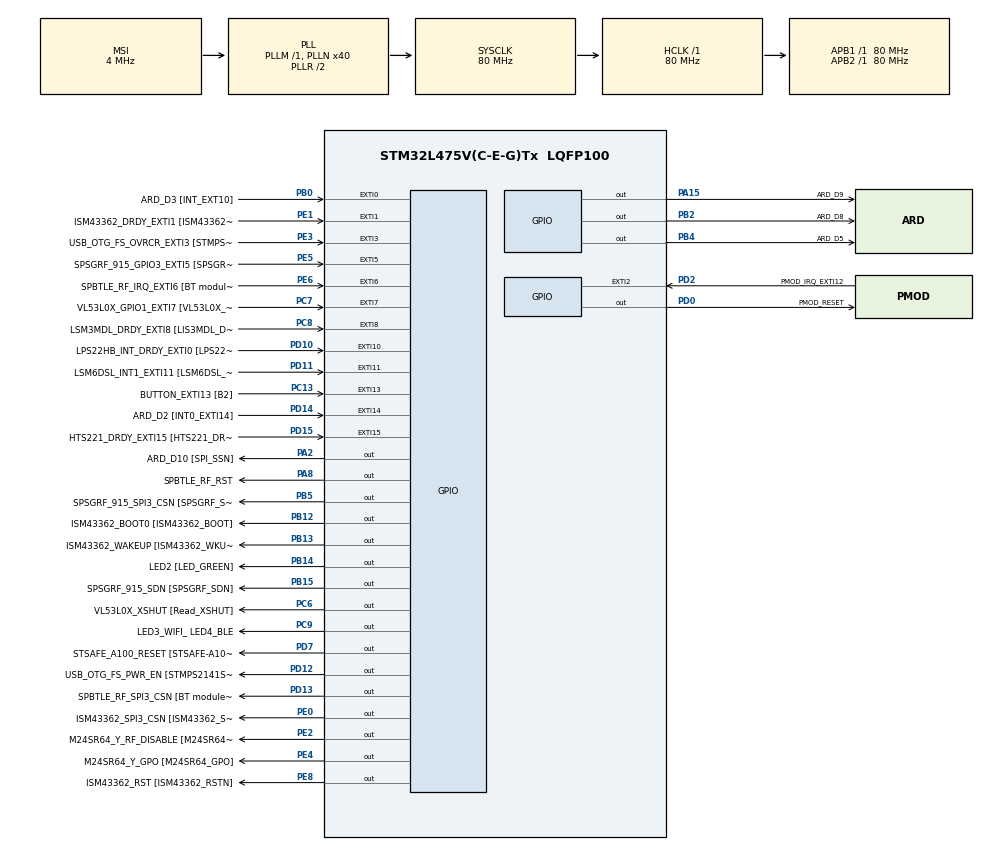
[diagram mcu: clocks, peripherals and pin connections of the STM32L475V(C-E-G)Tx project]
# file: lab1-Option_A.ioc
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FREERTOS.BinarySemaphores01=Semaphore_Timer,Dynamic,NULL,Available
FREERTOS.Mutexes01=Mutex_LED,Dynamic,NULL,Available
FREERTOS.Queues01=Queue_Button,5,uint8_t,0,Dynamic,NULL,NULL
FREERTOS.Tasks01=defaultTask,24,128,StartDefaultTask,Default,NULL,Dynamic,NULL,NULL;Task_1,24,128,StartTask_1,Default,NULL,Dynamic,NULL,NULL;Task_2,24,128,StartTask_2,Default,NULL,Dynamic,NULL,NULL
Mcu.Family=STM32L4
Mcu.Name=STM32L475V(C-E-G)Tx
Mcu.Package=LQFP100
NVIC.EXTI15_10_IRQn=true\:5\:0\:false\:false\:true\:true\:true\:true\:true
NVIC.EXTI9_5_IRQn=true\:5\:0\:false\:false\:true\:true\:true\:true\:true
NVIC.PriorityGroup=NVIC_PRIORITYGROUP_4
NVIC.TIM6_DAC_IRQn=true\:5\:0\:false\:false\:true\:true\:true\:true\:true
PA0.GPIO_Label=ARD_D1 [UART4_TX]
PA0.Signal=UART4_TX
PA1.GPIO_Label=ARD_D0 [UART4_RX]
PA1.Signal=UART4_RX
PA10.GPIO_Label=USB_OTG_FS_ID
PA10.Signal=USB_OTG_FS_ID
PA11.GPIO_Label=USB_OTG_FS_DM
PA11.Signal=USB_OTG_FS_DM
PA12.GPIO_Label=USB_OTG_FS_DP
PA12.Signal=USB_OTG_FS_DP
PA13\ (JTMS-SWDIO).GPIO_Label=SYS_JTMS_SWDIO
PA13\ (JTMS-SWDIO).Signal=SYS_JTMS-SWDIO
PA14\ (JTCK-SWCLK).GPIO_Label=SYS_JTCK_SWCLK
PA14\ (JTCK-SWCLK).Signal=SYS_JTCK-SWCLK
PA15\ (JTDI).GPIO_Label=ARD_D9
PA15\ (JTDI).Signal=GPIO_Output
PA2.GPIO_Label=ARD_D10 [SPI_SSN]
PA2.Signal=GPIO_Output
PA3.GPIO_Label=ARD_D4
PA3.Signal=S_TIM2_CH4
PA4.GPIO_Label=ARD_D7
PA4.Signal=ADCx_IN9
PA5.GPIO_Label=ARD_D13 [SPI1_SCK]
PA5.Signal=SPI1_SCK
PA6.GPIO_Label=ARD_D12 [SPI1_MISO]
PA6.Signal=SPI1_MISO
PA7.GPIO_Label=ARD_D11 [SPI1_MOSI]
PA7.Signal=SPI1_MOSI
PA8.GPIO_Label=SPBTLE_RF_RST
PA8.Signal=GPIO_Output
PA9.GPIO_Label=USB_OTG_FS_VBUS [STMPS2141STR_OUT]
PA9.Signal=USB_OTG_FS_VBUS
PB0.GPIO_Label=ARD_D3 [INT_EXT10]
PB0.Signal=GPXTI0
PB1.GPIO_Label=ARD_D6 [ADC1_IN6]
PB1.Signal=ADCx_IN16
PB10.GPIO_Label=INTERNAL_I2C2_SCL [VL53L0X_SCL]
PB10.Signal=I2C2_SCL
PB11.GPIO_Label=INTERNAL_I2C2_SDA [VL53L0X_SDA]
PB11.Signal=I2C2_SDA
PB12.GPIO_Label=ISM43362_BOOT0 [ISM43362_BOOT]
PB12.Signal=GPIO_Output
PB13.GPIO_Label=ISM43362_WAKEUP [ISM43362_WKUP]
PB13.Signal=GPIO_Output
PB14.GPIO_Label=LED2 [LED_GREEN]
PB14.Signal=GPIO_Output
PB15.GPIO_Label=SPSGRF_915_SDN [SPSGRF_SDN]
PB15.Signal=GPIO_Output
PB2.GPIO_Label=ARD_D8
PB2.Signal=GPIO_Output
PB3\ (JTDO-TRACESWO).GPIO_Label=SYS_JTD0_SWO
PB3\ (JTDO-TRACESWO).Signal=SYS_JTDO-SWO
PB4\ (NJTRST).GPIO_Label=ARD_D5
PB4\ (NJTRST).Signal=GPIO_Output
PB5.GPIO_Label=SPSGRF_915_SPI3_CSN [SPSGRF_SPI_CS]
PB5.PinState=GPIO_PIN_SET
PB5.Signal=GPIO_Output
PB6.GPIO_Label=ST_LINK_UART1_TX
PB6.Signal=USART1_TX
PB7.GPIO_Label=ST_LINK_UART1_RX
PB7.Signal=USART1_RX
PB8.GPIO_Label=ARD_D15 [I2C1_SCL]
PB8.Signal=I2C1_SCL
PB9.GPIO_Label=ARD_D14 [I2C1_SDA]
PB9.Signal=I2C1_SDA
PC0.GPIO_Label=ARD_A5 [ADC]
PC0.Signal=ADCx_IN1
PC1.GPIO_Label=ARD_A4 [ADC]
PC1.Signal=ADCx_IN2
PC10.GPIO_Label=INTERNAL_SPI3_SCK [BT module_SPI_SCLK] [ISM43362_SCK]
PC10.Signal=SPI3_SCK
PC11.GPIO_Label=INTERNAL_SPI3_MISO [BT module_SPI_MISO] [ISM43362_MISO]
PC11.Signal=SPI3_MISO
PC12.GPIO_Label=INTERNAL_SPI3_MOSI [BT module_SPI_MOSI] [ISM43362_MOSI]
PC12.Signal=SPI3_MOSI
PC13.GPIO_Label=BUTTON_EXTI13 [B2]
PC13.GPIO_ModeDefaultEXTI=GPIO_MODE_IT_RISING_FALLING
PC13.Signal=GPXTI13
PC14-OSC32_IN\ (PC14).Signal=RCC_OSC32_IN
PC15-OSC32_OUT\ (PC15).Signal=RCC_OSC32_OUT
PC2.GPIO_Label=ARD_A3 [ADC]
PC2.Signal=ADCx_IN3
PC3.GPIO_Label=ARD_A2 [ADC]
PC3.Signal=ADCx_IN4
PC4.GPIO_Label=ARD_A1 [ADC]
PC4.Signal=ADCx_IN13
PC5.GPIO_Label=ARD_A0 [ADC]
PC5.Signal=ADCx_IN14
PC6.GPIO_Label=VL53L0X_XSHUT [Read_XSHUT]
PC6.Signal=GPIO_Output
PC7.GPIO_Label=VL53L0X_GPIO1_EXTI7 [VL53L0X_GPIO1]
PC7.Signal=GPXTI7
PC8.GPIO_Label=LSM3MDL_DRDY_EXTI8 [LIS3MDL_DRDY]
PC8.Signal=GPXTI8
PC9.GPIO_Label=LED3_WIFI_ LED4_BLE
PC9.Signal=GPIO_Output
PD0.GPIO_Label=PMOD_RESET
PD0.Signal=GPIO_Output
PD1.GPIO_Label=PMOD_SPI2_SCK
PD1.Signal=SPI2_SCK
PD10.GPIO_Label=LPS22HB_INT_DRDY_EXTI0 [LPS22HB_INT_DRDY] 
PD10.Signal=GPXTI10
PD11.GPIO_Label=LSM6DSL_INT1_EXTI11 [LSM6DSL_INT1]
PD11.Signal=GPXTI11
PD12.GPIO_Label=USB_OTG_FS_PWR_EN [STMPS2141STR_EN]
PD12.Signal=GPIO_Output
PD13.GPIO_Label=SPBTLE_RF_SPI3_CSN [BT module_SPI_CS]
PD13.PinState=GPIO_PIN_SET
PD13.Signal=GPIO_Output
PD14.GPIO_Label=ARD_D2 [INT0_EXTI14]
PD14.Signal=GPXTI14
PD15.GPIO_Label=HTS221_DRDY_EXTI15 [HTS221_DRDY]
PD15.Signal=GPXTI15
PD2.GPIO_Label=PMOD_IRQ_EXTI12
PD2.Signal=GPXTI2
PD3.GPIO_Label=PMOD_UART2_CTS
PD3.Signal=USART2_CTS
PD4.GPIO_Label=PMOD_UART2_RTS
PD4.Signal=USART2_RTS
PD5.GPIO_Label=PMOD_UART2_TX
PD5.Signal=USART2_TX
PD6.GPIO_Label=PMOD_UART2_RX
PD6.Signal=USART2_RX
PD7.GPIO_Label=STSAFE_A100_RESET [STSAFE-A100_RESET]
PD7.Signal=GPIO_Output
PD8.GPIO_Label=INTERNAL_UART3_TX [ISM43362_RX]
PD8.Signal=USART3_TX
PD9.GPIO_Label=INTERNAL_UART3_RX [ISM43362_TX]
PD9.Signal=USART3_RX
PE0.GPIO_Label=ISM43362_SPI3_CSN [ISM43362_SSN]
PE0.PinState=GPIO_PIN_SET
PE0.Signal=GPIO_Output
PE1.GPIO_Label=ISM43362_DRDY_EXTI1 [ISM43362_DATARDY]
PE1.Signal=GPXTI1
PE10.GPIO_Label=QUADSPI_CLK [MX25R6435F_SCLK]
PE10.Signal=QUADSPI_CLK
PE11.GPIO_Label=QUADSPI_NCS [MX25R6435F_SCLK]
PE11.Signal=QUADSPI_NCS
PE12.GPIO_Label=OQUADSPI_BK1_IO0 [MX25R6435F_IO0]
PE12.Signal=QUADSPI_BK1_IO0
PE13.GPIO_Label=QUADSPI_BK1_IO1 [MX25R6435F_IO1]
PE13.Signal=QUADSPI_BK1_IO1
PE14.GPIO_Label=QUAD_SPI_BK1_IO2 [MX25R6435F_IO2]
PE14.Signal=QUADSPI_BK1_IO2
PE15.GPIO_Label=QUAD_SPI_BK1_IO3 [MX25R6435F_IO3]
PE15.Signal=QUADSPI_BK1_IO3
PE2.GPIO_Label=M24SR64_Y_RF_DISABLE [M24SR64_RFDIS]
PE2.Signal=GPIO_Output
PE3.GPIO_Label=USB_OTG_FS_OVRCR_EXTI3 [STMPS2141STR_FAULT]
PE3.Signal=GPXTI3
PE4.GPIO_Label=M24SR64_Y_GPO [M24SR64_GPO]
PE4.Signal=GPIO_Output
PE5.GPIO_Label=SPSGRF_915_GPIO3_EXTI5 [SPSGRF_GPIO_3]
PE5.Signal=GPXTI5
PE6.GPIO_Label=SPBTLE_RF_IRQ_EXTI6 [BT module_SPI_IRQ]
PE6.Signal=GPXTI6
PE7.GPIO_Label=DFSDM1_DATIN2 [MP34DT01_DOUT]
PE7.Signal=S_DATAIN2DFSDM1
PE8.GPIO_Label=ISM43362_RST [ISM43362_RSTN]
PE8.Signal=GPIO_Output
PE9.GPIO_Label=DFSDM1_CKOUT [MP34DT01_CLK]
PE9.Signal=S_CKOUTDFSDM1
ProjectManager.HeapSize=0x200
ProjectManager.StackSize=0x400
ProjectManager.TargetToolchain=STM32CubeIDE
RCC.ADCFreq_Value=48000000
RCC.AHBFreq_Value=80000000
RCC.APB1Freq_Value=80000000
RCC.APB1TimFreq_Value=80000000
RCC.APB2Freq_Value=80000000
RCC.APB2TimFreq_Value=80000000
RCC.CortexFreq_Value=80000000
RCC.HCLKFreq_Value=80000000
RCC.HSE_VALUE=8000000
RCC.HSI_VALUE=16000000
RCC.LSE_VALUE=32768
RCC.MSI_VALUE=4000000
RCC.PLLN=40
RCC.PLLSAI1N=24
RCC.SYSCLKFreq_VALUE=80000000
RCC.SYSCLKSource=RCC_SYSCLKSOURCE_PLLCLK
RCC.USBFreq_Value=48000000
RCC.VCOOutputFreq_Value=160000000
SH.ADCx_IN1.0=ADC1_IN1
SH.ADCx_IN13.0=ADC1_IN13
SH.ADCx_IN14.0=ADC1_IN14
SH.ADCx_IN16.0=ADC1_IN16
SH.ADCx_IN2.0=ADC1_IN2
SH.ADCx_IN3.0=ADC1_IN3
SH.ADCx_IN4.0=ADC1_IN4
SH.ADCx_IN9.0=ADC1_IN9
SH.S_CKOUTDFSDM1.0=DFSDM1_CKOUT
SH.S_DATAIN2DFSDM1.0=DFSDM1_DATIN2
SH.S_TIM2_CH4.0=TIM2_CH4
TIM6.Period=20000-1
TIM6.Prescaler=40000-1
VP_FREERTOS_VS_CMSIS_V2.Mode=CMSIS_V2
VP_TIM6_VS_ClockSourceINT.Mode=Enable_Timer
board=B-L475E-IOT01A1

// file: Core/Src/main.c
/* USER CODE BEGIN Header */
/**
  ******************************************************************************
  * @file           : main.c
  * @brief          : Main program body
  ******************************************************************************
  * @attention
  *
  * Copyright (c) 2026 STMicroelectronics.
  * All rights reserved.
  *
  * This software is licensed under terms that can be found in the LICENSE file
  * in the root directory of this software component.
  * If no LICENSE file comes with this software, it is provided AS-IS.
  *
  ******************************************************************************
  */
/* USER CODE END Header */
#include "main.h"
#include "cmsis_os.h"

TIM_HandleTypeDef htim6;

/* Definitions for defaultTask */
osThreadId_t defaultTaskHandle;
const osThreadAttr_t defaultTask_attributes = {
  .name = "defaultTask",
  .stack_size = 128 * 4,
  .priority = (osPriority_t) osPriorityNormal,
};
/* Definitions for Task_1 */
osThreadId_t Task_1Handle;
const osThreadAttr_t Task_1_attributes = {
  .name = "Task_1",
  .stack_size = 128 * 4,
  .priority = (osPriority_t) osPriorityNormal,
};
/* Definitions for Task_2 */
osThreadId_t Task_2Handle;
const osThreadAttr_t Task_2_attributes = {
  .name = "Task_2",
  .stack_size = 128 * 4,
  .priority = (osPriority_t) osPriorityNormal,
};
/* Definitions for Queue_Button */
osMessageQueueId_t Queue_ButtonHandle;
const osMessageQueueAttr_t Queue_Button_attributes = {
  .name = "Queue_Button"
};
/* Definitions for Mutex_LED */
osMutexId_t Mutex_LEDHandle;
const osMutexAttr_t Mutex_LED_attributes = {
  .name = "Mutex_LED"
};
/* Definitions for Semaphore_Timer */
osSemaphoreId_t Semaphore_TimerHandle;
const osSemaphoreAttr_t Semaphore_Timer_attributes = {
  .name = "Semaphore_Timer"
};

void SystemClock_Config(void);
static void MX_GPIO_Init(void);
static void MX_TIM6_Init(void);
void StartDefaultTask(void *argument);
void StartTask_1(void *argument);
void StartTask_2(void *argument);

int main(void)
{

  /* MCU Configuration--------------------------------------------------------*/

  /* Reset of all peripherals, Initializes the Flash interface and the Systick. */
  HAL_Init();

  /* Configure the system clock */
  SystemClock_Config();

  /* Initialize all configured peripherals */
  MX_GPIO_Init();
  MX_TIM6_Init();
  /* USER CODE BEGIN 2 */
  HAL_TIM_Base_Start_IT(&htim6);
  /* USER CODE END 2 */

  /* Init scheduler */
  osKernelInitialize();
  /* Create the mutex(es) */
  /* creation of Mutex_LED */
  Mutex_LEDHandle = osMutexNew(&Mutex_LED_attributes);

  /* Create the semaphores(s) */
  /* creation of Semaphore_Timer */
  Semaphore_TimerHandle = osSemaphoreNew(1, 1, &Semaphore_Timer_attributes);

  /* Create the queue(s) */
  /* creation of Queue_Button */
  Queue_ButtonHandle = osMessageQueueNew (5, sizeof(uint8_t), &Queue_Button_attributes);

  /* Create the thread(s) */
  /* creation of defaultTask */
  defaultTaskHandle = osThreadNew(StartDefaultTask, NULL, &defaultTask_attributes);

  /* creation of Task_1 */
  Task_1Handle = osThreadNew(StartTask_1, NULL, &Task_1_attributes);

  /* creation of Task_2 */
  Task_2Handle = osThreadNew(StartTask_2, NULL, &Task_2_attributes);

  /* Start scheduler */
  osKernelStart();

  /* We should never get here as control is now taken by the scheduler */

  /* Infinite loop */
  while (1)
  {

  }
}

void SystemClock_Config(void)
{
  RCC_OscInitTypeDef RCC_OscInitStruct = {0};
  RCC_ClkInitTypeDef RCC_ClkInitStruct = {0};

  /** Configure the main internal regulator output voltage
  */
  if (HAL_PWREx_ControlVoltageScaling(PWR_REGULATOR_VOLTAGE_SCALE1) != HAL_OK)
  {
    Error_Handler();
  }

  /** Initializes the RCC Oscillators according to the specified parameters
  * in the RCC_OscInitTypeDef structure.
  */
  RCC_OscInitStruct.OscillatorType = RCC_OSCILLATORTYPE_MSI;
  RCC_OscInitStruct.MSIState = RCC_MSI_ON;
  RCC_OscInitStruct.MSICalibrationValue = 0;
  RCC_OscInitStruct.MSIClockRange = RCC_MSIRANGE_6;
  RCC_OscInitStruct.PLL.PLLState = RCC_PLL_ON;
  RCC_OscInitStruct.PLL.PLLSource = RCC_PLLSOURCE_MSI;
  RCC_OscInitStruct.PLL.PLLM = 1;
  RCC_OscInitStruct.PLL.PLLN = 40;
  RCC_OscInitStruct.PLL.PLLP = RCC_PLLP_DIV7;
  RCC_OscInitStruct.PLL.PLLQ = RCC_PLLQ_DIV2;
  RCC_OscInitStruct.PLL.PLLR = RCC_PLLR_DIV2;
  if (HAL_RCC_OscConfig(&RCC_OscInitStruct) != HAL_OK)
  {
    Error_Handler();
  }

  /** Initializes the CPU, AHB and APB buses clocks
  */
  RCC_ClkInitStruct.ClockType = RCC_CLOCKTYPE_HCLK|RCC_CLOCKTYPE_SYSCLK
                              |RCC_CLOCKTYPE_PCLK1|RCC_CLOCKTYPE_PCLK2;
  RCC_ClkInitStruct.SYSCLKSource = RCC_SYSCLKSOURCE_PLLCLK;
  RCC_ClkInitStruct.AHBCLKDivider = RCC_SYSCLK_DIV1;
  RCC_ClkInitStruct.APB1CLKDivider = RCC_HCLK_DIV1;
  RCC_ClkInitStruct.APB2CLKDivider = RCC_HCLK_DIV1;

  if (HAL_RCC_ClockConfig(&RCC_ClkInitStruct, FLASH_LATENCY_4) != HAL_OK)
  {
    Error_Handler();
  }
}

static void MX_TIM6_Init(void)
{

  TIM_MasterConfigTypeDef sMasterConfig = {0};

  htim6.Instance = TIM6;
  htim6.Init.Prescaler = 40000-1;
  htim6.Init.CounterMode = TIM_COUNTERMODE_UP;
  htim6.Init.Period = 20000-1;
  htim6.Init.AutoReloadPreload = TIM_AUTORELOAD_PRELOAD_DISABLE;
  if (HAL_TIM_Base_Init(&htim6) != HAL_OK)
  {
    Error_Handler();
  }
  sMasterConfig.MasterOutputTrigger = TIM_TRGO_RESET;
  sMasterConfig.MasterSlaveMode = TIM_MASTERSLAVEMODE_DISABLE;
  if (HAL_TIMEx_MasterConfigSynchronization(&htim6, &sMasterConfig) != HAL_OK)
  {
    Error_Handler();
  }

}

static void MX_GPIO_Init(void)
{
  GPIO_InitTypeDef GPIO_InitStruct = {0};

  /* GPIO Ports Clock Enable */
  __HAL_RCC_GPIOE_CLK_ENABLE();
  __HAL_RCC_GPIOC_CLK_ENABLE();
  __HAL_RCC_GPIOA_CLK_ENABLE();
  __HAL_RCC_GPIOB_CLK_ENABLE();
  __HAL_RCC_GPIOD_CLK_ENABLE();

  /*Configure GPIO pin Output Level */
  HAL_GPIO_WritePin(GPIOE, M24SR64_Y_RF_DISABLE_Pin|M24SR64_Y_GPO_Pin|ISM43362_RST_Pin, GPIO_PIN_RESET);

  /*Configure GPIO pin Output Level */
  HAL_GPIO_WritePin(GPIOA, ARD_D10_Pin|SPBTLE_RF_RST_Pin|ARD_D9_Pin, GPIO_PIN_RESET);

  /*Configure GPIO pin Output Level */
  HAL_GPIO_WritePin(GPIOB, ARD_D8_Pin|ISM43362_BOOT0_Pin|ISM43362_WAKEUP_Pin|LED2_Pin
                          |SPSGRF_915_SDN_Pin|ARD_D5_Pin, GPIO_PIN_RESET);

  /*Configure GPIO pin Output Level */
  HAL_GPIO_WritePin(GPIOD, USB_OTG_FS_PWR_EN_Pin|PMOD_RESET_Pin|STSAFE_A100_RESET_Pin, GPIO_PIN_RESET);

  /*Configure GPIO pin Output Level */
  HAL_GPIO_WritePin(SPBTLE_RF_SPI3_CSN_GPIO_Port, SPBTLE_RF_SPI3_CSN_Pin, GPIO_PIN_SET);

  /*Configure GPIO pin Output Level */
  HAL_GPIO_WritePin(GPIOC, VL53L0X_XSHUT_Pin|LED3_WIFI__LED4_BLE_Pin, GPIO_PIN_RESET);

  /*Configure GPIO pin Output Level */
  HAL_GPIO_WritePin(SPSGRF_915_SPI3_CSN_GPIO_Port, SPSGRF_915_SPI3_CSN_Pin, GPIO_PIN_SET);

  /*Configure GPIO pin Output Level */
  HAL_GPIO_WritePin(ISM43362_SPI3_CSN_GPIO_Port, ISM43362_SPI3_CSN_Pin, GPIO_PIN_SET);

  /*Configure GPIO pins : M24SR64_Y_RF_DISABLE_Pin M24SR64_Y_GPO_Pin ISM43362_RST_Pin ISM43362_SPI3_CSN_Pin */
  GPIO_InitStruct.Pin = M24SR64_Y_RF_DISABLE_Pin|M24SR64_Y_GPO_Pin|ISM43362_RST_Pin|ISM43362_SPI3_CSN_Pin;
  GPIO_InitStruct.Mode = GPIO_MODE_OUTPUT_PP;
  GPIO_InitStruct.Pull = GPIO_NOPULL;
  GPIO_InitStruct.Speed = GPIO_SPEED_FREQ_LOW;
  HAL_GPIO_Init(GPIOE, &GPIO_InitStruct);

  /*Configure GPIO pins : USB_OTG_FS_OVRCR_EXTI3_Pin SPSGRF_915_GPIO3_EXTI5_Pin SPBTLE_RF_IRQ_EXTI6_Pin ISM43362_DRDY_EXTI1_Pin */
  GPIO_InitStruct.Pin = USB_OTG_FS_OVRCR_EXTI3_Pin|SPSGRF_915_GPIO3_EXTI5_Pin|SPBTLE_RF_IRQ_EXTI6_Pin|ISM43362_DRDY_EXTI1_Pin;
  GPIO_InitStruct.Mode = GPIO_MODE_IT_RISING;
  GPIO_InitStruct.Pull = GPIO_NOPULL;
  HAL_GPIO_Init(GPIOE, &GPIO_InitStruct);

  /*Configure GPIO pin : BUTTON_EXTI13_Pin */
  GPIO_InitStruct.Pin = BUTTON_EXTI13_Pin;
  GPIO_InitStruct.Mode = GPIO_MODE_IT_RISING_FALLING;
  GPIO_InitStruct.Pull = GPIO_NOPULL;
  HAL_GPIO_Init(BUTTON_EXTI13_GPIO_Port, &GPIO_InitStruct);

  /*Configure GPIO pins : ARD_A5_Pin ARD_A4_Pin ARD_A3_Pin ARD_A2_Pin
                           ARD_A1_Pin ARD_A0_Pin */
  GPIO_InitStruct.Pin = ARD_A5_Pin|ARD_A4_Pin|ARD_A3_Pin|ARD_A2_Pin
                          |ARD_A1_Pin|ARD_A0_Pin;
  GPIO_InitStruct.Mode = GPIO_MODE_ANALOG_ADC_CONTROL;
  GPIO_InitStruct.Pull = GPIO_NOPULL;
  HAL_GPIO_Init(GPIOC, &GPIO_InitStruct);

  /*Configure GPIO pins : ARD_D1_Pin ARD_D0_Pin */
  GPIO_InitStruct.Pin = ARD_D1_Pin|ARD_D0_Pin;
  GPIO_InitStruct.Mode = GPIO_MODE_AF_PP;
  GPIO_InitStruct.Pull = GPIO_NOPULL;
  GPIO_InitStruct.Speed = GPIO_SPEED_FREQ_VERY_HIGH;
  GPIO_InitStruct.Alternate = GPIO_AF8_UART4;
  HAL_GPIO_Init(GPIOA, &GPIO_InitStruct);

  /*Configure GPIO pins : ARD_D10_Pin SPBTLE_RF_RST_Pin ARD_D9_Pin */
  GPIO_InitStruct.Pin = ARD_D10_Pin|SPBTLE_RF_RST_Pin|ARD_D9_Pin;
  GPIO_InitStruct.Mode = GPIO_MODE_OUTPUT_PP;
  GPIO_InitStruct.Pull = GPIO_NOPULL;
  GPIO_InitStruct.Speed = GPIO_SPEED_FREQ_LOW;
  HAL_GPIO_Init(GPIOA, &GPIO_InitStruct);

  /*Configure GPIO pin : ARD_D4_Pin */
  GPIO_InitStruct.Pin = ARD_D4_Pin;
  GPIO_InitStruct.Mode = GPIO_MODE_AF_PP;
  GPIO_InitStruct.Pull = GPIO_NOPULL;
  GPIO_InitStruct.Speed = GPIO_SPEED_FREQ_LOW;
  GPIO_InitStruct.Alternate = GPIO_AF1_TIM2;
  HAL_GPIO_Init(ARD_D4_GPIO_Port, &GPIO_InitStruct);

  /*Configure GPIO pin : ARD_D7_Pin */
  GPIO_InitStruct.Pin = ARD_D7_Pin;
  GPIO_InitStruct.Mode = GPIO_MODE_ANALOG_ADC_CONTROL;
  GPIO_InitStruct.Pull = GPIO_NOPULL;
  HAL_GPIO_Init(ARD_D7_GPIO_Port, &GPIO_InitStruct);

  /*Configure GPIO pins : ARD_D13_Pin ARD_D12_Pin ARD_D11_Pin */
  GPIO_InitStruct.Pin = ARD_D13_Pin|ARD_D12_Pin|ARD_D11_Pin;
  GPIO_InitStruct.Mode = GPIO_MODE_AF_PP;
  GPIO_InitStruct.Pull = GPIO_NOPULL;
  GPIO_InitStruct.Speed = GPIO_SPEED_FREQ_VERY_HIGH;
  GPIO_InitStruct.Alternate = GPIO_AF5_SPI1;
  HAL_GPIO_Init(GPIOA, &GPIO_InitStruct);

  /*Configure GPIO pin : ARD_D3_Pin */
  GPIO_InitStruct.Pin = ARD_D3_Pin;
  GPIO_InitStruct.Mode = GPIO_MODE_IT_RISING;
  GPIO_InitStruct.Pull = GPIO_NOPULL;
  HAL_GPIO_Init(ARD_D3_GPIO_Port, &GPIO_InitStruct);

  /*Configure GPIO pin : ARD_D6_Pin */
  GPIO_InitStruct.Pin = ARD_D6_Pin;
  GPIO_InitStruct.Mode = GPIO_MODE_ANALOG_ADC_CONTROL;
  GPIO_InitStruct.Pull = GPIO_NOPULL;
  HAL_GPIO_Init(ARD_D6_GPIO_Port, &GPIO_InitStruct);

  /*Configure GPIO pins : ARD_D8_Pin ISM43362_BOOT0_Pin ISM43362_WAKEUP_Pin LED2_Pin
                           SPSGRF_915_SDN_Pin ARD_D5_Pin SPSGRF_915_SPI3_CSN_Pin */
  GPIO_InitStruct.Pin = ARD_D8_Pin|ISM43362_BOOT0_Pin|ISM43362_WAKEUP_Pin|LED2_Pin
                          |SPSGRF_915_SDN_Pin|ARD_D5_Pin|SPSGRF_915_SPI3_CSN_Pin;
  GPIO_InitStruct.Mode = GPIO_MODE_OUTPUT_PP;
  GPIO_InitStruct.Pull = GPIO_NOPULL;
  GPIO_InitStruct.Speed = GPIO_SPEED_FREQ_LOW;
  HAL_GPIO_Init(GPIOB, &GPIO_InitStruct);

  /*Configure GPIO pins : DFSDM1_DATIN2_Pin DFSDM1_CKOUT_Pin */
  GPIO_InitStruct.Pin = DFSDM1_DATIN2_Pin|DFSDM1_CKOUT_Pin;
  GPIO_InitStruct.Mode = GPIO_MODE_AF_PP;
  GPIO_InitStruct.Pull = GPIO_NOPULL;
  GPIO_InitStruct.Speed = GPIO_SPEED_FREQ_LOW;
  GPIO_InitStruct.Alternate = GPIO_AF6_DFSDM1;
  HAL_GPIO_Init(GPIOE, &GPIO_InitStruct);

  /*Configure GPIO pins : QUADSPI_CLK_Pin QUADSPI_NCS_Pin OQUADSPI_BK1_IO0_Pin QUADSPI_BK1_IO1_Pin
                           QUAD_SPI_BK1_IO2_Pin QUAD_SPI_BK1_IO3_Pin */
  GPIO_InitStruct.Pin = QUADSPI_CLK_Pin|QUADSPI_NCS_Pin|OQUADSPI_BK1_IO0_Pin|QUADSPI_BK1_IO1_Pin
                          |QUAD_SPI_BK1_IO2_Pin|QUAD_SPI_BK1_IO3_Pin;
  GPIO_InitStruct.Mode = GPIO_MODE_AF_PP;
  GPIO_InitStruct.Pull = GPIO_NOPULL;
  GPIO_InitStruct.Speed = GPIO_SPEED_FREQ_VERY_HIGH;
  GPIO_InitStruct.Alternate = GPIO_AF10_QUADSPI;
  HAL_GPIO_Init(GPIOE, &GPIO_InitStruct);

  /*Configure GPIO pins : INTERNAL_I2C2_SCL_Pin INTERNAL_I2C2_SDA_Pin */
  GPIO_InitStruct.Pin = INTERNAL_I2C2_SCL_Pin|INTERNAL_I2C2_SDA_Pin;
  GPIO_InitStruct.Mode = GPIO_MODE_AF_OD;
  GPIO_InitStruct.Pull = GPIO_NOPULL;
  GPIO_InitStruct.Speed = GPIO_SPEED_FREQ_VERY_HIGH;
  GPIO_InitStruct.Alternate = GPIO_AF4_I2C2;
  HAL_GPIO_Init(GPIOB, &GPIO_InitStruct);

  /*Configure GPIO pins : INTERNAL_UART3_TX_Pin INTERNAL_UART3_RX_Pin */
  GPIO_InitStruct.Pin = INTERNAL_UART3_TX_Pin|INTERNAL_UART3_RX_Pin;
  GPIO_InitStruct.Mode = GPIO_MODE_AF_PP;
  GPIO_InitStruct.Pull = GPIO_NOPULL;
  GPIO_InitStruct.Speed = GPIO_SPEED_FREQ_VERY_HIGH;
  GPIO_InitStruct.Alternate = GPIO_AF7_USART3;
  HAL_GPIO_Init(GPIOD, &GPIO_InitStruct);

  /*Configure GPIO pins : LPS22HB_INT_DRDY_EXTI0_Pin LSM6DSL_INT1_EXTI11_Pin ARD_D2_Pin HTS221_DRDY_EXTI15_Pin
                           PMOD_IRQ_EXTI12_Pin */
  GPIO_InitStruct.Pin = LPS22HB_INT_DRDY_EXTI0_Pin|LSM6DSL_INT1_EXTI11_Pin|ARD_D2_Pin|HTS221_DRDY_EXTI15_Pin
                          |PMOD_IRQ_EXTI12_Pin;
  GPIO_InitStruct.Mode = GPIO_MODE_IT_RISING;
  GPIO_InitStruct.Pull = GPIO_NOPULL;
  HAL_GPIO_Init(GPIOD, &GPIO_InitStruct);

  /*Configure GPIO pins : USB_OTG_FS_PWR_EN_Pin SPBTLE_RF_SPI3_CSN_Pin PMOD_RESET_Pin STSAFE_A100_RESET_Pin */
  GPIO_InitStruct.Pin = USB_OTG_FS_PWR_EN_Pin|SPBTLE_RF_SPI3_CSN_Pin|PMOD_RESET_Pin|STSAFE_A100_RESET_Pin;
  GPIO_InitStruct.Mode = GPIO_MODE_OUTPUT_PP;
  GPIO_InitStruct.Pull = GPIO_NOPULL;
  GPIO_InitStruct.Speed = GPIO_SPEED_FREQ_LOW;
  HAL_GPIO_Init(GPIOD, &GPIO_InitStruct);

  /*Configure GPIO pins : VL53L0X_XSHUT_Pin LED3_WIFI__LED4_BLE_Pin */
  GPIO_InitStruct.Pin = VL53L0X_XSHUT_Pin|LED3_WIFI__LED4_BLE_Pin;
  GPIO_InitStruct.Mode = GPIO_MODE_OUTPUT_PP;
  GPIO_InitStruct.Pull = GPIO_NOPULL;
  GPIO_InitStruct.Speed = GPIO_SPEED_FREQ_LOW;
  HAL_GPIO_Init(GPIOC, &GPIO_InitStruct);

  /*Configure GPIO pins : VL53L0X_GPIO1_EXTI7_Pin LSM3MDL_DRDY_EXTI8_Pin */
  GPIO_InitStruct.Pin = VL53L0X_GPIO1_EXTI7_Pin|LSM3MDL_DRDY_EXTI8_Pin;
  GPIO_InitStruct.Mode = GPIO_MODE_IT_RISING;
  GPIO_InitStruct.Pull = GPIO_NOPULL;
  HAL_GPIO_Init(GPIOC, &GPIO_InitStruct);

  /*Configure GPIO pin : USB_OTG_FS_VBUS_Pin */
  GPIO_InitStruct.Pin = USB_OTG_FS_VBUS_Pin;
  GPIO_InitStruct.Mode = GPIO_MODE_INPUT;
  GPIO_InitStruct.Pull = GPIO_NOPULL;
  HAL_GPIO_Init(USB_OTG_FS_VBUS_GPIO_Port, &GPIO_InitStruct);

  /*Configure GPIO pins : USB_OTG_FS_ID_Pin USB_OTG_FS_DM_Pin USB_OTG_FS_DP_Pin */
  GPIO_InitStruct.Pin = USB_OTG_FS_ID_Pin|USB_OTG_FS_DM_Pin|USB_OTG_FS_DP_Pin;
  GPIO_InitStruct.Mode = GPIO_MODE_AF_PP;
  GPIO_InitStruct.Pull = GPIO_NOPULL;
  GPIO_InitStruct.Speed = GPIO_SPEED_FREQ_VERY_HIGH;
  GPIO_InitStruct.Alternate = GPIO_AF10_OTG_FS;
  HAL_GPIO_Init(GPIOA, &GPIO_InitStruct);

  /*Configure GPIO pins : INTERNAL_SPI3_SCK_Pin INTERNAL_SPI3_MISO_Pin INTERNAL_SPI3_MOSI_Pin */
  GPIO_InitStruct.Pin = INTERNAL_SPI3_SCK_Pin|INTERNAL_SPI3_MISO_Pin|INTERNAL_SPI3_MOSI_Pin;
  GPIO_InitStruct.Mode = GPIO_MODE_AF_PP;
  GPIO_InitStruct.Pull = GPIO_NOPULL;
  GPIO_InitStruct.Speed = GPIO_SPEED_FREQ_VERY_HIGH;
  GPIO_InitStruct.Alternate = GPIO_AF6_SPI3;
  HAL_GPIO_Init(GPIOC, &GPIO_InitStruct);

  /*Configure GPIO pin : PMOD_SPI2_SCK_Pin */
  GPIO_InitStruct.Pin = PMOD_SPI2_SCK_Pin;
  GPIO_InitStruct.Mode = GPIO_MODE_AF_PP;
  GPIO_InitStruct.Pull = GPIO_NOPULL;
  GPIO_InitStruct.Speed = GPIO_SPEED_FREQ_VERY_HIGH;
  GPIO_InitStruct.Alternate = GPIO_AF5_SPI2;
  HAL_GPIO_Init(PMOD_SPI2_SCK_GPIO_Port, &GPIO_InitStruct);

  /*Configure GPIO pins : PMOD_UART2_CTS_Pin PMOD_UART2_RTS_Pin PMOD_UART2_TX_Pin PMOD_UART2_RX_Pin */
  GPIO_InitStruct.Pin = PMOD_UART2_CTS_Pin|PMOD_UART2_RTS_Pin|PMOD_UART2_TX_Pin|PMOD_UART2_RX_Pin;
  GPIO_InitStruct.Mode = GPIO_MODE_AF_PP;
  GPIO_InitStruct.Pull = GPIO_NOPULL;
  GPIO_InitStruct.Speed = GPIO_SPEED_FREQ_VERY_HIGH;
  GPIO_InitStruct.Alternate = GPIO_AF7_USART2;
  HAL_GPIO_Init(GPIOD, &GPIO_InitStruct);

  /*Configure GPIO pins : ST_LINK_UART1_TX_Pin ST_LINK_UART1_RX_Pin */
  GPIO_InitStruct.Pin = ST_LINK_UART1_TX_Pin|ST_LINK_UART1_RX_Pin;
  GPIO_InitStruct.Mode = GPIO_MODE_AF_PP;
  GPIO_InitStruct.Pull = GPIO_NOPULL;
  GPIO_InitStruct.Speed = GPIO_SPEED_FREQ_VERY_HIGH;
  GPIO_InitStruct.Alternate = GPIO_AF7_USART1;
  HAL_GPIO_Init(GPIOB, &GPIO_InitStruct);

  /*Configure GPIO pins : ARD_D15_Pin ARD_D14_Pin */
  GPIO_InitStruct.Pin = ARD_D15_Pin|ARD_D14_Pin;
  GPIO_InitStruct.Mode = GPIO_MODE_AF_OD;
  GPIO_InitStruct.Pull = GPIO_NOPULL;
  GPIO_InitStruct.Speed = GPIO_SPEED_FREQ_VERY_HIGH;
  GPIO_InitStruct.Alternate = GPIO_AF4_I2C1;
  HAL_GPIO_Init(GPIOB, &GPIO_InitStruct);

  /* EXTI interrupt init*/
  HAL_NVIC_SetPriority(EXTI9_5_IRQn, 5, 0);
  HAL_NVIC_EnableIRQ(EXTI9_5_IRQn);

  HAL_NVIC_SetPriority(EXTI15_10_IRQn, 5, 0);
  HAL_NVIC_EnableIRQ(EXTI15_10_IRQn);

}

/* USER CODE BEGIN 4 */
uint32_t button_press_time = 0;   // 記錄按下的時間點

void HAL_GPIO_EXTI_Callback(uint16_t GPIO_Pin)
{
  if (GPIO_Pin == BUTTON_EXTI13_Pin) {

    // 【關鍵修正】：你的板子按下去是低電位 (RESET)
    if (HAL_GPIO_ReadPin(GPIOC, BUTTON_EXTI13_Pin) == GPIO_PIN_RESET) {
      // 偵測到按下去，記錄時間
      button_press_time = HAL_GetTick();
    }
    else {
      // 偵測到放開 (變成 SET)
      // 【防護機制】：確保真的有按下去的紀錄，才去計算時間差
      if (button_press_time != 0) {
          uint32_t duration = HAL_GetTick() - button_press_time;

          uint8_t msg = 0;
          if (duration > 1000) {
            msg = 2; // 時間差 > 1秒，長按
          } else if (duration > 50) {
            msg = 1; // 時間差 > 50ms，短按 (兼具防彈跳)
          }

          // 把訊息丟進 Queue 給 Task_1
          if (msg != 0) {
            osMessageQueuePut(Queue_ButtonHandle, &msg, 0, 0);
          }

          // 計算完畢後清空，等待下一次按鍵
          button_press_time = 0;
      }
    }
  }
}

// Timer 中斷 Callback (Task_2 的維持原樣不動)
void HAL_TIM_PeriodElapsedCallback(TIM_HandleTypeDef *htim)
{
  if (htim->Instance == TIM6) {
    osSemaphoreRelease(Semaphore_TimerHandle);
  }
}
/* USER CODE END 4 */

void StartDefaultTask(void *argument)
{
  for(;;)
  {
    osDelay(1);
  }
}

void StartTask_1(void *argument)
{
  /* USER CODE BEGIN StartTask_1 */
  uint8_t received_msg;

  for(;;)
  {
    // 1. 等待 Queue 的訊息 (osWaitForever 代表一直等下去)
    if (osMessageQueueGet(Queue_ButtonHandle, &received_msg, NULL, osWaitForever) == osOK) {

      // 2. 取得 Mutex 保護 LED，避免 Task_2 跑來亂
      osMutexAcquire(Mutex_LEDHandle, osWaitForever);

      if (received_msg == 1) {
        // 短按：閃 5 秒，頻率 1Hz (亮 500ms, 暗 500ms，共 5 次)
        for (int i = 0; i < 5; i++) {
          HAL_GPIO_WritePin(GPIOB, LED2_Pin, GPIO_PIN_SET);
          osDelay(500);
          HAL_GPIO_WritePin(GPIOB, LED2_Pin, GPIO_PIN_RESET);
          osDelay(500);
        }
      }
      else if (received_msg == 2) {
        // 長按：閃 5 秒，頻率 10Hz (亮 50ms, 暗 50ms，共 50 次)
        for (int i = 0; i < 50; i++) {
          HAL_GPIO_WritePin(GPIOB, LED2_Pin, GPIO_PIN_SET);
          osDelay(50);
          HAL_GPIO_WritePin(GPIOB, LED2_Pin, GPIO_PIN_RESET);
          osDelay(50);
        }
      }

      // 3. 閃爍完畢，釋放 Mutex
      osMutexRelease(Mutex_LEDHandle);
    }
  }
  /* USER CODE END StartTask_1 */
}

void StartTask_2(void *argument)
{
  /* USER CODE BEGIN StartTask_2 */
  /* Infinite loop */
  for(;;)
  {
	  // 1. 等待 Timer 的 Semaphore (每 10 秒會收到一次)
	  if (osSemaphoreAcquire(Semaphore_TimerHandle, osWaitForever) == osOK) {

		// 2. 取得 Mutex 保護 LED
		osMutexAcquire(Mutex_LEDHandle, osWaitForever);

		// 3. 執行閃爍 (2秒, 10Hz)
		for (int i = 0; i < 20; i++) {
		  HAL_GPIO_WritePin(GPIOB, LED2_Pin, GPIO_PIN_SET);
		  osDelay(50);
		  HAL_GPIO_WritePin(GPIOB, LED2_Pin, GPIO_PIN_RESET);
		  osDelay(50);
		}

		// 4. 閃爍完畢，釋放 Mutex
		osMutexRelease(Mutex_LEDHandle);
	  }
  }
  /* USER CODE END StartTask_2 */
}

void Error_Handler(void)
{
  __disable_irq();
  while (1)
  {
  }
}
